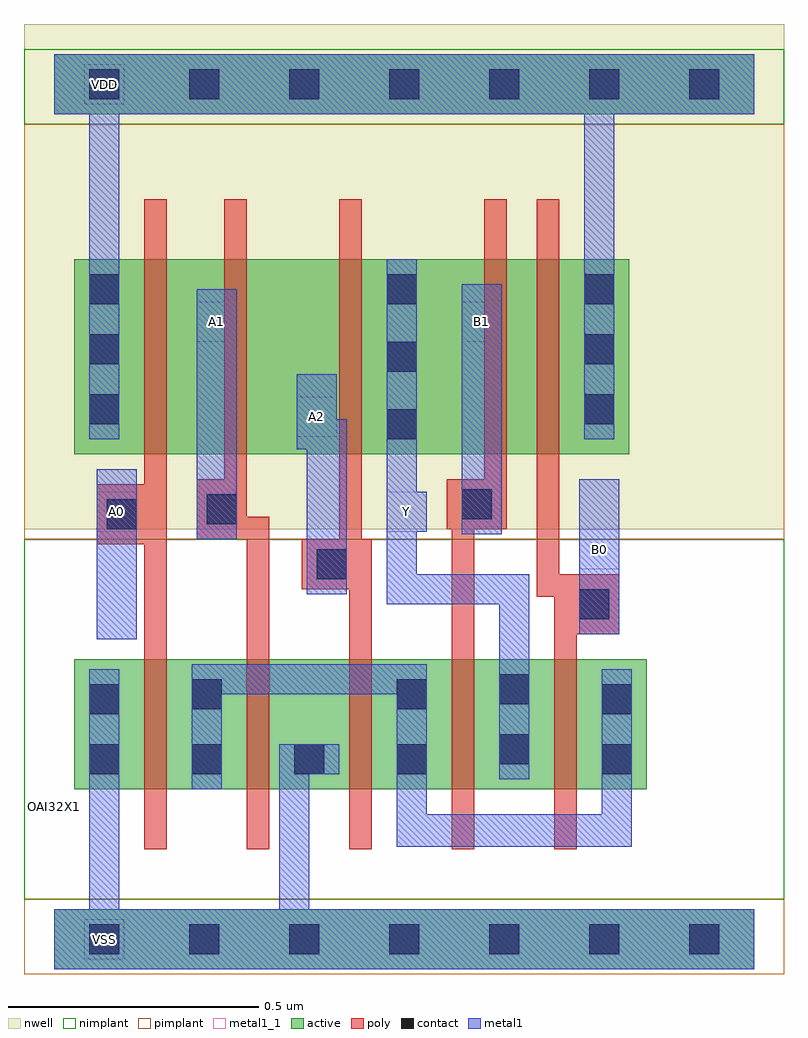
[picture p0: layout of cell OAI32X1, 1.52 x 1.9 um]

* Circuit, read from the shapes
.subckt OAI32X1 A0 A1 A2 B0 B1 VDD VSS Y
M1 n1 A0 VSS VSS nfet w=0.26u l=0.045u
M2 VSS A1 n1 VSS nfet w=0.26u l=0.045u
M3 n1 A2 VSS VSS nfet w=0.26u l=0.045u
M4 Y B1 n1 VSS nfet w=0.26u l=0.045u
M5 n1 B0 Y VSS nfet w=0.26u l=0.045u
M6 n2 A0 VDD VDD pfet w=0.39u l=0.045u
M7 n3 A1 n2 VDD pfet w=0.39u l=0.045u
M8 Y A2 n3 VDD pfet w=0.39u l=0.045u
M9 n4 B1 Y VDD pfet w=0.39u l=0.045u
M10 VDD B0 n4 VDD pfet w=0.39u l=0.045u
.ends

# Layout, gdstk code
import gdstk
lib = gdstk.Library(unit=1e-6, precision=5e-10)
def R(c, l, rs):  # rectangles x0, y0, x1, y1
    for r in rs: c.add(gdstk.rectangle(r[:2], r[2:], *l))
def A(c, l, x, y, w, h, nx, ny, dx, dy):  # array of equal rectangles
    R(c, l, [(x+i*dx, y+j*dy, x+i*dx+w, y+j*dy+h) for i in range(nx) for j in range(ny)])
def P(c, l, *ps):  # polygons
    for p in ps: c.add(gdstk.Polygon(p, *l))
active = (1, 0)
nwell = (2, 0)
poly = (3, 0)
nimplant = (4, 0)
pimplant = (5, 0)
contact = (6, 0)
metal1 = (7, 0)
metal1_1 = (7, 1)

oai32x1 = lib.new_cell('OAI32X1')
R(oai32x1, active, [(0,-0.06,1.4,0.06), (0.04,0.3,1.185,0.56), (0.04,0.97,1.15,1.36), (0,1.65,1.4,1.77)])
R(oai32x1, nwell, [(-0.06,0.82,1.46,1.83)])
P(oai32x1, poly, [(0.18,1.48),(0.225,1.48),(0.225,0.18),(0.18,0.18),(0.18,0.79),(0.085,0.79),(0.085,0.91),(0.18,0.91)],
  [(0.34,1.48),(0.385,1.48),(0.385,0.845),(0.43,0.845),(0.43,0.18),(0.385,0.18),(0.385,0.8),(0.285,0.8),(0.285,0.92),(0.34,0.92)],
  [(0.57,1.48),(0.615,1.48),(0.615,0.8),(0.635,0.8),(0.635,0.18),(0.59,0.18),(0.59,0.7),(0.495,0.7),(0.495,0.8),(0.57,0.8)],
  [(0.905,1.48),(0.86,1.48),(0.86,0.92),(0.785,0.92),(0.785,0.82),(0.795,0.82),(0.795,0.18),(0.84,0.18),(0.84,0.82),(0.905,0.82)],
  [(0.965,1.48),(1.01,1.48),(1.01,0.73),(1.13,0.73),(1.13,0.61),(1.045,0.61),(1.045,0.18),(1,0.18),(1,0.685),(0.965,0.685)])
R(oai32x1, nimplant, [(-0.06,0.08,1.46,0.8), (-0.06,1.63,1.46,1.78)])
R(oai32x1, pimplant, [(-0.06,-0.07,1.46,0.08), (-0.06,0.8,1.46,1.63)])
A(oai32x1, contact, 0.07, -0.03, 0.06, 0.06, 7, 2, 0.2, 1.71)
A(oai32x1, contact, 0.07, 0.33, 0.06, 0.06, 4, 1, 0.205, 0)
A(oai32x1, contact, 0.665, 1, 0.06, 0.06, 1, 3, 0, 0.135)
A(oai32x1, contact, 0.07, 1.03, 0.06, 0.06, 1, 3, 0, 0.12)
A(oai32x1, contact, 1.06, 1.03, 0.06, 0.06, 1, 3, 0, 0.12)
R(oai32x1, contact, [(1.095,0.33,1.155,0.39), (0.89,0.35,0.95,0.41), (0.07,0.45,0.13,0.51), (1.095,0.45,1.155,0.51), (0.275,0.46,0.335,0.52), (0.685,0.46,0.745,0.52), (0.89,0.47,0.95,0.53), (1.05,0.64,1.11,0.7), (0.525,0.72,0.585,0.78), (0.105,0.82,0.165,0.88), (0.305,0.83,0.365,0.89), (0.815,0.84,0.875,0.9)])
R(oai32x1, metal1, [(0.085,0.6,0.165,0.94), (1.05,0.61,1.13,0.92), (0.285,0.8,0.365,1.3), (0.815,0.81,0.895,1.31), (0.665,0.815,0.745,0.895)])
P(oai32x1, metal1, [(0.275,0.55),(0.745,0.55),(0.745,0.25),(1.095,0.25),(1.095,0.54),(1.155,0.54),(1.155,0.185),(0.685,0.185),(0.685,0.49),(0.335,0.49),(0.335,0.3),(0.275,0.3)],
  [(0.07,0.54),(0.13,0.54),(0.13,0.06),(0.45,0.06),(0.45,0.39),(0.57,0.39),(0.57,0.33),(0.51,0.33),(0.51,0.06),(1.4,0.06),(1.4,-0.06),(0,-0.06),(0,0.06),(0.07,0.06)],
  [(0,1.77),(1.4,1.77),(1.4,1.65),(1.12,1.65),(1.12,1),(1.06,1),(1.06,1.65),(0.13,1.65),(0.13,1),(0.07,1),(0.07,1.65),(0,1.65)],
  [(0.665,1.36),(0.725,1.36),(0.725,0.73),(0.95,0.73),(0.95,0.32),(0.89,0.32),(0.89,0.67),(0.665,0.67)],
  [(0.485,1.13),(0.565,1.13),(0.565,1.04),(0.585,1.04),(0.585,0.69),(0.505,0.69),(0.505,0.98),(0.485,0.98)])
R(oai32x1, metal1_1, [(0.06,-0.04,0.14,0.04), (1.05,0.74,1.13,0.82), (0.085,0.815,0.165,0.895), (0.665,0.815,0.745,0.895), (0.485,1.005,0.565,1.085), (0.285,1.195,0.365,1.275), (0.815,1.195,0.895,1.275), (0.06,1.67,0.14,1.75)])
oai32x1.add(gdstk.Label('VSS', (0.1,0), layer=7, texttype=1))
oai32x1.add(gdstk.Label('B0', (1.09,0.78), layer=7, texttype=1))
oai32x1.add(gdstk.Label('Y', (0.705,0.855), layer=7, texttype=1))
oai32x1.add(gdstk.Label('A0', (0.125,0.855), layer=7, texttype=1))
oai32x1.add(gdstk.Label('A1', (0.325,1.235), layer=7, texttype=1))
oai32x1.add(gdstk.Label('B1', (0.855,1.235), layer=7, texttype=1))
oai32x1.add(gdstk.Label('A2', (0.525,1.045), layer=7, texttype=1))
oai32x1.add(gdstk.Label('VDD', (0.1,1.71), layer=7, texttype=1))
oai32x1.add(gdstk.Label('OAI32X1', (0,0.265), layer=63, texttype=0))

lib.write_gds('OAI32X1.gds')
